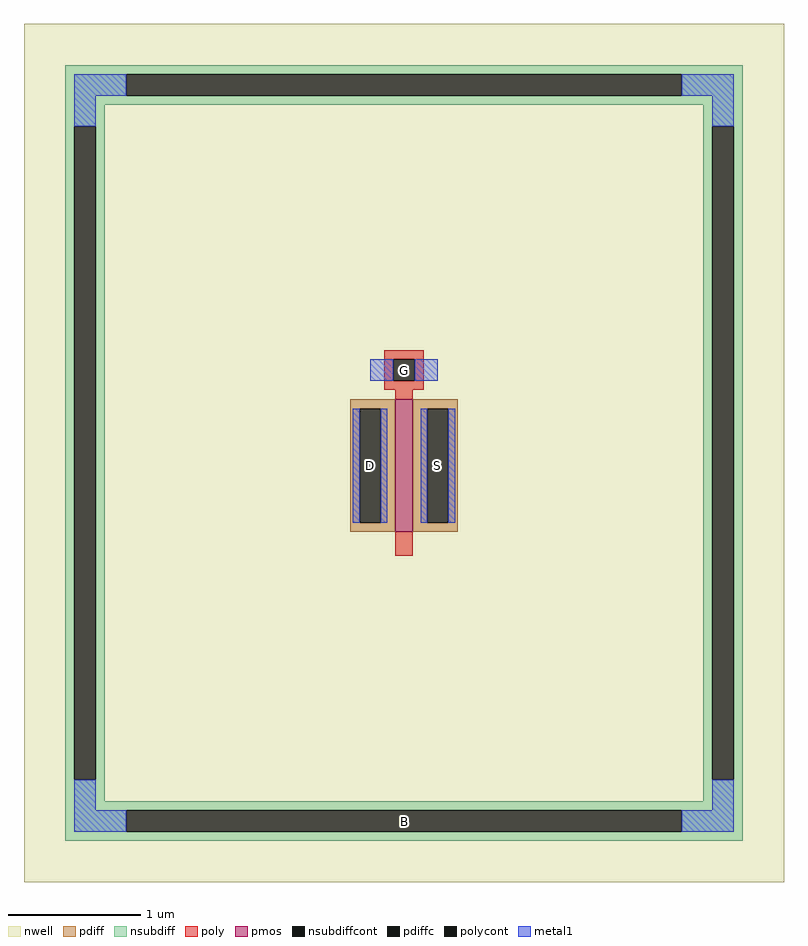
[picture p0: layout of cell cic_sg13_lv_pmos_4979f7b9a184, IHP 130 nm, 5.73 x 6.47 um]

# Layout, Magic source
magic
tech ihp-sg13cmos5l
magscale 1 2
<< nwell >>
rect -573 -647 573 647
<< pmos >>
rect -13 -119 13 81
<< pdiff >>
rect -81 67 -13 81
rect -81 -105 -67 67
rect -35 -105 -13 67
rect -81 -119 -13 -105
rect 13 67 81 81
rect 13 -105 35 67
rect 67 -105 81 67
rect 13 -119 81 -105
<< pdiffc >>
rect -67 -105 -35 67
rect 35 -105 67 67
<< nsubdiff >>
rect -511 571 511 585
rect -511 539 -419 571
rect 419 539 511 571
rect -511 525 511 539
rect -511 493 -451 525
rect -511 -493 -497 493
rect -465 -493 -451 493
rect 451 493 511 525
rect -511 -525 -451 -493
rect 451 -493 465 493
rect 497 -493 511 493
rect 451 -525 511 -493
rect -511 -539 511 -525
rect -511 -571 -419 -539
rect 419 -571 511 -539
rect -511 -585 511 -571
<< nsubdiffcont >>
rect -419 539 419 571
rect -497 -493 -465 493
rect 465 -493 497 493
rect -419 -571 419 -539
<< poly >>
rect -30 141 30 155
rect -30 109 -16 141
rect 16 109 30 141
rect -30 95 30 109
rect -13 81 13 95
rect -13 -155 13 -119
<< polycont >>
rect -16 109 16 141
<< metal1 >>
rect -497 539 -419 571
rect 419 539 497 571
rect -497 493 -465 539
rect 465 493 497 539
rect -51 109 -16 141
rect 16 109 51 141
rect -77 -105 -67 67
rect -35 -105 -25 67
rect 25 -105 35 67
rect 67 -105 77 67
rect -497 -539 -465 -493
rect 465 -539 497 -493
rect -497 -571 -419 -539
rect 419 -571 497 -539
<< labels >>
rlabel nsubdiffcont 0 -555 0 -555 0 B
port 1 nsew
rlabel pdiffc -51 -19 -51 -19 0 D
port 2 nsew
rlabel pdiffc 51 -19 51 -19 0 S
port 3 nsew
rlabel polycont 0 125 0 125 0 G
port 4 nsew
<< properties >>
string FIXED_BBOX -481 -555 481 555
string gencell sg13_lv_pmos
string library sg13cmos5l
string parameters w 1.0 l 0.13 m 1 ng 1 diffcov 100 polycov 100 guard 1 glc 1 grc 1 gtc 1 gbc 1 tbcov 100 rlcov 100 topc 1 botc 0 poverlap 0 doverlap 1 lmin 0.13 wmin 0.15 class mosfet compatible {sg13_lv_pmos sg13_hv_pmos} full_metal 1 conn_gates 1 gate_ring 0 ccols 1 viasrc 0 viadrn 0 viagate 0 viagb 0 viagr 0 viagl 0 viagt 0 doports 1 set_x_to_guard 2.0 set_y_to_guard 2.0
<< end >>
